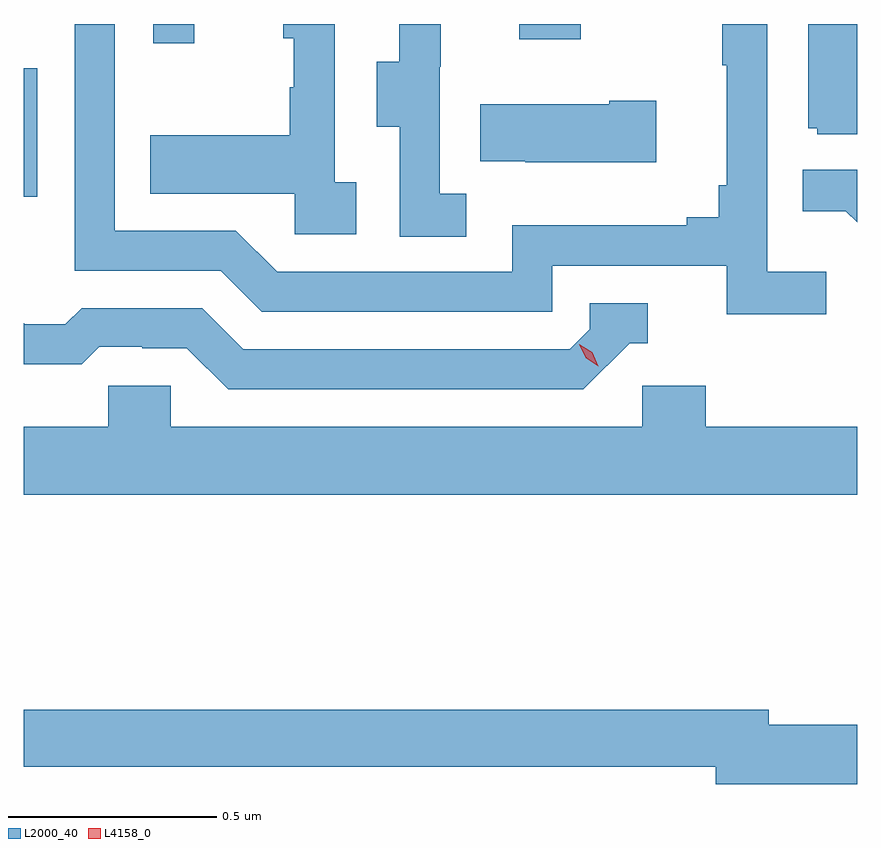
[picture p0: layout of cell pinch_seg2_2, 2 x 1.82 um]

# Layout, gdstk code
import gdstk
lib = gdstk.Library(unit=1e-6, precision=1e-09)
def R(c, l, rs):  # rectangles x0, y0, x1, y1
    for r in rs: c.add(gdstk.rectangle(r[:2], r[2:], *l))
def P(c, l, *ps):  # polygons
    for p in ps: c.add(gdstk.Polygon(p, *l))
L2000_40 = (2000, 40)
L4158_0 = (4158, 0)

pinch_seg2_2 = lib.new_cell('pinch_seg2_2')
R(pinch_seg2_2, L2000_40, [(1121.17,664.335,1121.202,664.644), (1121.481,664.704,1121.579,664.75), (1122.359,664.713,1122.507,664.75)])
P(pinch_seg2_2, L2000_40, [(1123.17,664.75),(1123.052,664.75),(1123.052,664.5),(1123.074,664.5),(1123.074,664.485),(1123.17,664.485)],
  [(1122.232,664.343),(1122.168,664.343),(1122.168,664.647),(1122.17,664.647),(1122.17,664.75),(1122.071,664.75),(1122.071,664.659),(1122.017,664.659),(1122.017,664.504),(1122.072,664.504),(1122.072,664.24),(1122.232,664.24)],
  [(1123.096,664.156),(1122.954,664.156),(1122.954,664.75),(1122.846,664.75),(1122.846,664.651),(1122.857,664.651),(1122.857,664.363),(1122.838,664.363),(1122.838,664.286),(1122.761,664.286),(1122.761,664.267),(1122.342,664.267),(1122.342,664.155),(1121.778,664.155),(1121.679,664.254),(1121.388,664.254),(1121.388,664.75),(1121.292,664.75),(1121.292,664.158),(1121.642,664.158),(1121.741,664.059),(1122.438,664.059),(1122.438,664.17),(1122.857,664.17),(1122.857,664.054),(1123.096,664.054)],
  [(1121.968,664.37),(1121.916,664.37),(1121.916,664.75),(1121.792,664.75),(1121.792,664.716),(1121.818,664.716),(1121.818,664.598),(1121.808,664.598),(1121.808,664.483),(1121.473,664.483),(1121.473,664.343),(1121.82,664.343),(1121.82,664.245),(1121.968,664.245)],
  [(1122.688,664.566),(1122.575,664.566),(1122.575,664.558),(1122.265,664.558),(1122.265,664.421),(1122.373,664.421),(1122.373,664.418),(1122.688,664.418)],
  [(1123.17,664.4),(1123.039,664.4),(1123.039,664.301),(1123.143,664.301),(1123.17,664.274)],
  [(1122.624,663.984),(1122.667,663.984),(1122.667,664.08),(1122.528,664.08),(1122.528,664.017),(1122.48,663.969),(1121.697,663.969),(1121.598,664.068),(1121.309,664.068),(1121.27,664.029),(1121.171,664.029),(1121.171,664.032),(1121.17,664.032),(1121.17,663.933),(1121.309,663.933),(1121.351,663.975),(1121.454,663.975),(1121.454,663.972),(1121.561,663.972),(1121.66,663.873),(1122.513,663.873)],
  [(1123.17,663.784),(1122.806,663.784),(1122.806,663.882),(1122.654,663.882),(1122.654,663.784),(1121.523,663.784),(1121.523,663.882),(1121.373,663.882),(1121.373,663.784),(1121.17,663.784),(1121.17,663.62),(1123.17,663.62)],
  [(1123.17,663.068),(1122.958,663.068),(1122.958,663.104),(1121.17,663.104),(1121.17,662.968),(1122.83,662.968),(1122.83,662.926),(1123.17,662.926)])
P(pinch_seg2_2, L4158_0, [(1122.549,663.929),(1122.518,663.949),(1122.503,663.982),(1122.503,663.982),(1122.503,663.982),(1122.534,663.962),(1122.549,663.929),(1122.549,663.929)])

lib.write_gds('pinch_seg2_2.gds')
